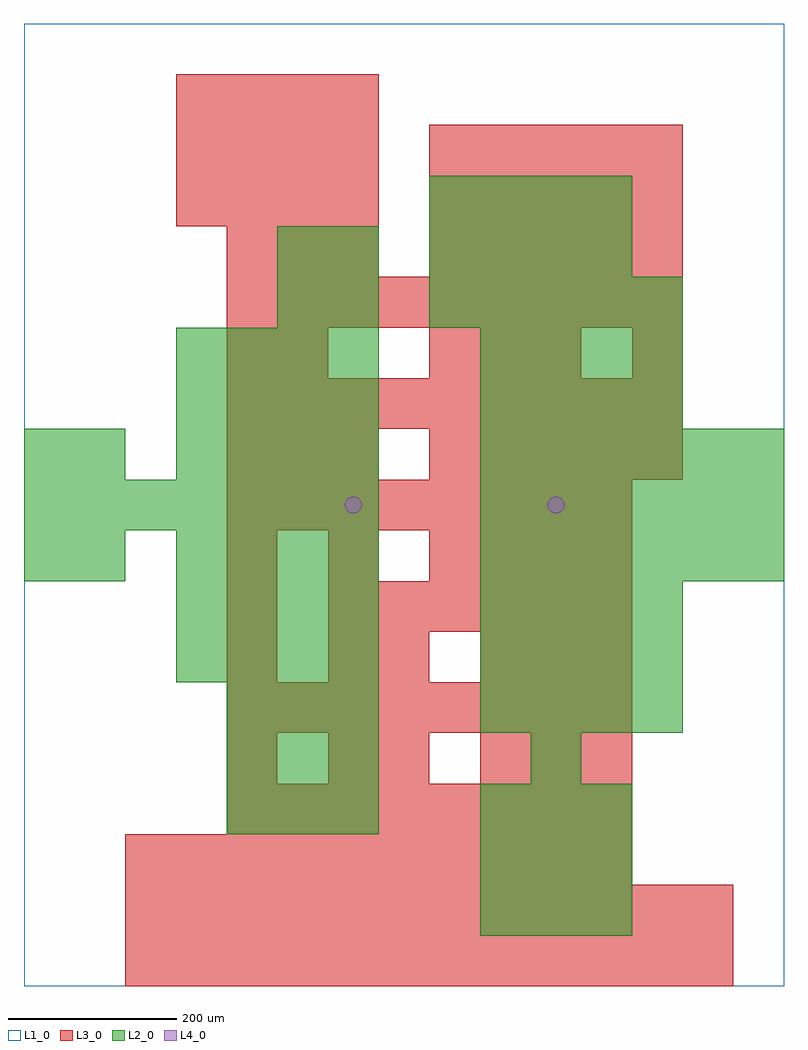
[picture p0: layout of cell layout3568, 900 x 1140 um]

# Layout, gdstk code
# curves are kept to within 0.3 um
import gdstk
lib = gdstk.Library(unit=1e-6, precision=1e-09)
def R(c, l, rs):  # rectangles x0, y0, x1, y1
    for r in rs: c.add(gdstk.rectangle(r[:2], r[2:], *l))
def A(c, l, x, y, w, h, nx, ny, dx, dy):  # array of equal rectangles
    R(c, l, [(x+i*dx, y+j*dy, x+i*dx+w, y+j*dy+h) for i in range(nx) for j in range(ny)])
def P(c, l, *ps):  # polygons
    for p in ps: c.add(gdstk.Polygon(p, *l))
L1_0 = (1, 0)
L2_0 = (2, 0)
L3_0 = (3, 0)
L4_0 = (4, 0)

layout3568 = lib.new_cell('layout3568')
R(layout3568, L1_0, [(0,0,900,1140)])
A(layout3568, L2_0, 540, 60, 60, 60, 3, 3, 60, 60)
A(layout3568, L2_0, 240, 180, 60, 60, 3, 3, 60, 60)
A(layout3568, L2_0, 540, 300, 60, 60, 4, 3, 60, 60)
A(layout3568, L2_0, 180, 360, 60, 60, 4, 3, 60, 60)
A(layout3568, L2_0, 540, 480, 60, 60, 6, 3, 60, 60)
A(layout3568, L2_0, 0, 540, 60, 60, 7, 1, 60, 0)
A(layout3568, L2_0, 180, 600, 60, 60, 4, 3, 60, 60)
A(layout3568, L2_0, 540, 660, 60, 60, 4, 2, 60, 60)
A(layout3568, L2_0, 480, 780, 60, 60, 5, 1, 60, 0)
A(layout3568, L2_0, 480, 840, 60, 60, 4, 2, 60, 60)
R(layout3568, L2_0, [(600,240,660,300), (0,480,60,540), (60,480,120,540), (0,600,60,660), (60,600,120,660), (300,780,360,840), (360,780,420,840), (300,840,360,900), (360,840,420,900)])
A(layout3568, L3_0, 120, 0, 60, 60, 12, 2, 60, 60)
A(layout3568, L3_0, 120, 120, 60, 60, 10, 1, 60, 0)
A(layout3568, L3_0, 240, 180, 60, 60, 8, 2, 60, 120)
A(layout3568, L3_0, 540, 240, 60, 60, 3, 3, 60, 120)
A(layout3568, L3_0, 360, 420, 60, 60, 6, 1, 60, 0)
A(layout3568, L3_0, 240, 480, 60, 60, 3, 1, 120, 0)
A(layout3568, L3_0, 240, 540, 60, 60, 8, 1, 60, 0)
A(layout3568, L3_0, 240, 600, 60, 60, 3, 2, 60, 240)
A(layout3568, L3_0, 480, 600, 60, 60, 5, 2, 60, 240)
A(layout3568, L3_0, 240, 660, 60, 60, 9, 2, 60, 120)
A(layout3568, L3_0, 480, 720, 60, 60, 3, 1, 60, 0)
A(layout3568, L3_0, 180, 900, 60, 60, 4, 3, 60, 60)
A(layout3568, L3_0, 480, 900, 60, 60, 5, 2, 60, 60)
R(layout3568, L3_0, [(240,240,300,300), (360,240,420,300), (420,240,480,300), (240,360,300,420), (360,360,420,420), (420,360,480,420), (240,420,300,480), (240,720,300,780), (300,720,360,780), (720,720,780,780)])
P(layout3568, L4_0, [(400,570),(399.239,573.827),(397.071,577.071),(393.827,579.239),(390,580),(386.173,579.239),(382.929,577.071),(380.761,573.827),(380,570),(380.761,566.173),(382.929,562.929),(386.173,560.761),(390,560),(393.827,560.761),(397.071,562.929),(399.239,566.173)],
  [(640,570),(639.239,573.827),(637.071,577.071),(633.827,579.239),(630,580),(626.173,579.239),(622.929,577.071),(620.761,573.827),(620,570),(620.761,566.173),(622.929,562.929),(626.173,560.761),(630,560),(633.827,560.761),(637.071,562.929),(639.239,566.173)])

lib.write_gds('layout3568.gds')
